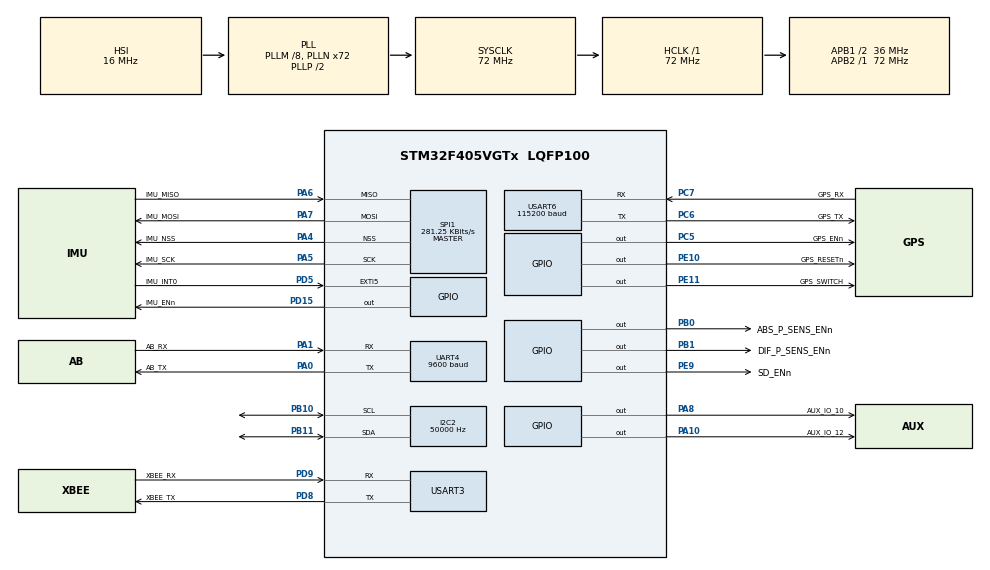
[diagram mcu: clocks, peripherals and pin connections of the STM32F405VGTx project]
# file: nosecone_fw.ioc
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Dma.I2C2_RX.2.Direction=DMA_PERIPH_TO_MEMORY
Dma.I2C2_RX.2.FIFOMode=DMA_FIFOMODE_DISABLE
Dma.I2C2_RX.2.Instance=DMA1_Stream2
Dma.I2C2_RX.2.MemDataAlignment=DMA_MDATAALIGN_BYTE
Dma.I2C2_RX.2.MemInc=DMA_MINC_ENABLE
Dma.I2C2_RX.2.Mode=DMA_NORMAL
Dma.I2C2_RX.2.PeriphDataAlignment=DMA_PDATAALIGN_BYTE
Dma.I2C2_RX.2.PeriphInc=DMA_PINC_DISABLE
Dma.I2C2_RX.2.Priority=DMA_PRIORITY_LOW
Dma.I2C2_TX.3.Direction=DMA_MEMORY_TO_PERIPH
Dma.I2C2_TX.3.FIFOMode=DMA_FIFOMODE_DISABLE
Dma.I2C2_TX.3.Instance=DMA1_Stream7
Dma.I2C2_TX.3.MemDataAlignment=DMA_MDATAALIGN_BYTE
Dma.I2C2_TX.3.MemInc=DMA_MINC_ENABLE
Dma.I2C2_TX.3.Mode=DMA_NORMAL
Dma.I2C2_TX.3.PeriphDataAlignment=DMA_PDATAALIGN_BYTE
Dma.I2C2_TX.3.PeriphInc=DMA_PINC_DISABLE
Dma.I2C2_TX.3.Priority=DMA_PRIORITY_LOW
Dma.Request0=USART3_RX
Dma.Request1=USART3_TX
Dma.Request2=I2C2_RX
Dma.Request3=I2C2_TX
Dma.Request4=UART4_TX
Dma.Request5=SPI1_RX
Dma.Request6=SPI1_TX
Dma.Request7=USART6_RX
Dma.SPI1_RX.5.Direction=DMA_PERIPH_TO_MEMORY
Dma.SPI1_RX.5.FIFOMode=DMA_FIFOMODE_DISABLE
Dma.SPI1_RX.5.Instance=DMA2_Stream0
Dma.SPI1_RX.5.MemDataAlignment=DMA_MDATAALIGN_BYTE
Dma.SPI1_RX.5.MemInc=DMA_MINC_ENABLE
Dma.SPI1_RX.5.Mode=DMA_NORMAL
Dma.SPI1_RX.5.PeriphDataAlignment=DMA_PDATAALIGN_BYTE
Dma.SPI1_RX.5.PeriphInc=DMA_PINC_DISABLE
Dma.SPI1_RX.5.Priority=DMA_PRIORITY_LOW
Dma.SPI1_TX.6.Direction=DMA_MEMORY_TO_PERIPH
Dma.SPI1_TX.6.FIFOMode=DMA_FIFOMODE_DISABLE
Dma.SPI1_TX.6.Instance=DMA2_Stream5
Dma.SPI1_TX.6.MemDataAlignment=DMA_MDATAALIGN_BYTE
Dma.SPI1_TX.6.MemInc=DMA_MINC_ENABLE
Dma.SPI1_TX.6.Mode=DMA_NORMAL
Dma.SPI1_TX.6.PeriphDataAlignment=DMA_PDATAALIGN_BYTE
Dma.SPI1_TX.6.PeriphInc=DMA_PINC_DISABLE
Dma.SPI1_TX.6.Priority=DMA_PRIORITY_LOW
Dma.UART4_TX.4.Direction=DMA_MEMORY_TO_PERIPH
Dma.UART4_TX.4.FIFOMode=DMA_FIFOMODE_DISABLE
Dma.UART4_TX.4.Instance=DMA1_Stream4
Dma.UART4_TX.4.MemDataAlignment=DMA_MDATAALIGN_BYTE
Dma.UART4_TX.4.MemInc=DMA_MINC_ENABLE
Dma.UART4_TX.4.Mode=DMA_NORMAL
Dma.UART4_TX.4.PeriphDataAlignment=DMA_PDATAALIGN_BYTE
Dma.UART4_TX.4.PeriphInc=DMA_PINC_DISABLE
Dma.UART4_TX.4.Priority=DMA_PRIORITY_LOW
Dma.USART3_RX.0.Direction=DMA_PERIPH_TO_MEMORY
Dma.USART3_RX.0.FIFOMode=DMA_FIFOMODE_DISABLE
Dma.USART3_RX.0.Instance=DMA1_Stream1
Dma.USART3_RX.0.MemDataAlignment=DMA_MDATAALIGN_BYTE
Dma.USART3_RX.0.MemInc=DMA_MINC_ENABLE
Dma.USART3_RX.0.Mode=DMA_CIRCULAR
Dma.USART3_RX.0.PeriphDataAlignment=DMA_PDATAALIGN_BYTE
Dma.USART3_RX.0.PeriphInc=DMA_PINC_DISABLE
Dma.USART3_RX.0.Priority=DMA_PRIORITY_LOW
Dma.USART3_TX.1.Direction=DMA_MEMORY_TO_PERIPH
Dma.USART3_TX.1.FIFOMode=DMA_FIFOMODE_DISABLE
Dma.USART3_TX.1.Instance=DMA1_Stream3
Dma.USART3_TX.1.MemDataAlignment=DMA_MDATAALIGN_BYTE
Dma.USART3_TX.1.MemInc=DMA_MINC_ENABLE
Dma.USART3_TX.1.Mode=DMA_NORMAL
Dma.USART3_TX.1.PeriphDataAlignment=DMA_PDATAALIGN_BYTE
Dma.USART3_TX.1.PeriphInc=DMA_PINC_DISABLE
Dma.USART3_TX.1.Priority=DMA_PRIORITY_LOW
Dma.USART6_RX.7.Direction=DMA_PERIPH_TO_MEMORY
Dma.USART6_RX.7.FIFOMode=DMA_FIFOMODE_DISABLE
Dma.USART6_RX.7.Instance=DMA2_Stream1
Dma.USART6_RX.7.MemDataAlignment=DMA_MDATAALIGN_BYTE
Dma.USART6_RX.7.MemInc=DMA_MINC_ENABLE
Dma.USART6_RX.7.Mode=DMA_CIRCULAR
Dma.USART6_RX.7.PeriphDataAlignment=DMA_PDATAALIGN_BYTE
Dma.USART6_RX.7.PeriphInc=DMA_PINC_DISABLE
Dma.USART6_RX.7.Priority=DMA_PRIORITY_LOW
FREERTOS.BinarySemaphores01=IMU_IntSem,Dynamic,NULL;xBeeTxBufferSem,Dynamic,NULL;pressureSensorI2cSem,Dynamic,NULL
FREERTOS.HEAP_NUMBER=4
FREERTOS.MEMORY_ALLOCATION=0
FREERTOS.Queues01=xBeeQueue,16,Telemetry_Message,0,Dynamic,NULL,NULL
FREERTOS.Tasks01=defaultTask,-2,128,StartDefaultTask,Default,NULL,Dynamic,NULL,NULL;IMU_iface,0,128,TK_IMU,As external,NULL,Dynamic,NULL,NULL;xBeeTelemetry,0,128,TK_xBeeTelemetry,As external,NULL,Dynamic,NULL,NULL;fetchFBarometer,1,128,TK_fetchBarometer,As external,NULL,Dynamic,NULL,NULL;centralizeData,0,300,TK_data,As external,NULL,Dynamic,NULL,NULL;xBee_RC,-2,128,TK_xBee_receive,As external,NULL,Dynamic,NULL,NULL;state_machine,-1,512,TK_state_machine,As external,NULL,Dynamic,NULL,NULL;stateEstimation,0,1000,TK_state_estimation,As external,NULL,Dynamic,NULL,NULL;poll_gps,0,300,TK_GPS,As external,NULL,Dynamic,NULL,NULL;airbrakes,-1,512,TK_ab_controller,As external,NULL,Dynamic,NULL,NULL
FREERTOS.configGENERATE_RUN_TIME_STATS=1
FREERTOS.configTOTAL_HEAP_SIZE=51200
FREERTOS.configUSE_TRACE_FACILITY=1
I2C2.ClockSpeed=50000
Mcu.Family=STM32F4
Mcu.Name=STM32F405VGTx
Mcu.Package=LQFP100
NVIC.DMA1_Stream1_IRQn=true\:5\:0\:false\:true\:true\:2\:true\:false
NVIC.DMA1_Stream2_IRQn=true\:5\:0\:false\:true\:true\:3\:false\:false
NVIC.DMA1_Stream3_IRQn=true\:5\:0\:false\:true\:true\:4\:true\:false
NVIC.DMA1_Stream4_IRQn=true\:5\:0\:false\:true\:true\:5\:true\:false
NVIC.DMA1_Stream7_IRQn=true\:5\:0\:false\:true\:true\:10\:true\:false
NVIC.DMA2_Stream0_IRQn=true\:5\:0\:false\:true\:true\:13\:true\:false
NVIC.DMA2_Stream1_IRQn=true\:5\:0\:false\:true\:true\:14\:true\:false
NVIC.DMA2_Stream5_IRQn=true\:5\:0\:false\:true\:true\:15\:true\:false
NVIC.EXTI9_5_IRQn=true\:12\:0\:true\:true\:true\:6\:true\:true
NVIC.I2C2_ER_IRQn=true\:5\:0\:false\:true\:true\:7\:true\:true
NVIC.I2C2_EV_IRQn=true\:5\:0\:false\:true\:true\:1\:true\:true
NVIC.PriorityGroup=NVIC_PRIORITYGROUP_4
NVIC.SPI1_IRQn=true\:5\:0\:false\:true\:true\:8\:true\:true
NVIC.TIM7_IRQn=true\:5\:0\:false\:true\:true\:12\:true\:true
NVIC.TIM8_TRG_COM_TIM14_IRQn=true\:0\:0\:false\:false\:true\:false\:false
NVIC.TimeBase=TIM8_TRG_COM_TIM14_IRQn
NVIC.TimeBaseIP=TIM14
NVIC.UART4_IRQn=true\:5\:0\:false\:true\:true\:11\:true\:true
NVIC.USART3_IRQn=true\:5\:0\:false\:true\:true\:9\:true\:true
PA0-WKUP.GPIO_Label=AB_TX
PA0-WKUP.Mode=Asynchronous
PA0-WKUP.Signal=UART4_TX
PA1.GPIO_Label=AB_RX
PA1.Mode=Asynchronous
PA1.Signal=UART4_RX
PA10.GPIO_Label=AUX_IO_12
PA10.Signal=GPIO_Output
PA4.GPIO_Label=IMU_NSS
PA4.GPIO_PuPd=GPIO_NOPULL
PA4.Mode=NSS_Signal_Hard_Output
PA4.Signal=SPI1_NSS
PA5.GPIO_Label=IMU_SCK
PA5.GPIO_PuPd=GPIO_NOPULL
PA5.Mode=Full_Duplex_Master
PA5.Signal=SPI1_SCK
PA6.GPIO_Label=IMU_MISO
PA6.Mode=Full_Duplex_Master
PA6.Signal=SPI1_MISO
PA7.GPIO_Label=IMU_MOSI
PA7.Mode=Full_Duplex_Master
PA7.Signal=SPI1_MOSI
PA8.GPIO_Label=AUX_IO_10
PA8.Signal=GPIO_Output
PB0.GPIO_Label=ABS_P_SENS_ENn
PB0.PinState=GPIO_PIN_SET
PB0.Signal=GPIO_Output
PB1.GPIO_Label=DIF_P_SENS_ENn
PB1.PinState=GPIO_PIN_SET
PB1.Signal=GPIO_Output
PB10.Mode=I2C
PB10.Signal=I2C2_SCL
PB11.Mode=I2C
PB11.Signal=I2C2_SDA
PC5.GPIO_Label=GPS_ENn
PC5.PinState=GPIO_PIN_SET
PC5.Signal=GPIO_Output
PC6.GPIO_Label=GPS_TX
PC6.Mode=Asynchronous
PC6.Signal=USART6_TX
PC7.GPIO_Label=GPS_RX
PC7.Mode=Asynchronous
PC7.Signal=USART6_RX
PD15.GPIO_Label=IMU_ENn
PD15.PinState=GPIO_PIN_SET
PD15.Signal=GPIO_Output
PD5.GPIO_Label=IMU_INT0
PD5.GPIO_ModeDefaultEXTI=GPIO_MODE_IT_FALLING
PD5.Signal=GPXTI5
PD8.GPIO_Label=XBEE_TX
PD8.Mode=Asynchronous
PD8.Signal=USART3_TX
PD9.GPIO_Label=XBEE_RX
PD9.Mode=Asynchronous
PD9.Signal=USART3_RX
PE10.GPIO_Label=GPS_RESETn
PE10.PinState=GPIO_PIN_SET
PE10.Signal=GPIO_Output
PE11.GPIO_Label=GPS_SWITCH
PE11.PinState=GPIO_PIN_SET
PE11.Signal=GPIO_Output
PE9.GPIO_Label=SD_ENn
PE9.PinState=GPIO_PIN_RESET
PE9.Signal=GPIO_Output
ProjectManager.HeapSize=0x200
ProjectManager.StackSize=0x400
ProjectManager.TargetToolchain=TrueSTUDIO
RCC.48MHZClocksFreq_Value=18000000
RCC.AHBFreq_Value=72000000
RCC.APB1CLKDivider=RCC_HCLK_DIV2
RCC.APB1Freq_Value=36000000
RCC.APB1TimFreq_Value=72000000
RCC.APB2Freq_Value=72000000
RCC.APB2TimFreq_Value=72000000
RCC.CortexFreq_Value=72000000
RCC.HCLKFreq_Value=72000000
RCC.HSE_VALUE=25000000
RCC.HSI_VALUE=16000000
RCC.LSE_VALUE=32768
RCC.PLLM=8
RCC.PLLN=72
RCC.PLLQ=8
RCC.SYSCLKFreq_VALUE=72000000
RCC.SYSCLKSource=RCC_SYSCLKSOURCE_PLLCLK
RCC.VCOOutputFreq_Value=144000000
SPI1.BaudRatePrescaler=SPI_BAUDRATEPRESCALER_256
SPI1.CalculateBaudRate=281.25 KBits/s
SPI1.Direction=SPI_DIRECTION_2LINES
SPI1.Mode=SPI_MODE_MASTER
SPI1.TIMode=SPI_TIMODE_DISABLE
SPI1.VirtualNSS=VM_NSSHARD
SPI1.VirtualType=VM_MASTER
TIM7.Period=50
TIM7.Prescaler=168
UART4.BaudRate=9600
UART4.VirtualMode=Asynchronous
USART3.VirtualMode=VM_ASYNC
USART6.BaudRate=115200
USART6.VirtualMode=VM_ASYNC
VP_FREERTOS_VS_ENABLE.Mode=Enabled
VP_SYS_VS_tim14.Mode=TIM14
VP_TIM7_VS_ClockSourceINT.Mode=Enable_Timer
board=nosecone_fw

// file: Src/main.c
/**
  ******************************************************************************
  * @file           : main.c
  * @brief          : Main program body
  ******************************************************************************
  * This notice applies to any and all portions of this file
  * that are not between comment pairs USER CODE BEGIN and
  * USER CODE END. Other portions of this file, whether
  * inserted by the user or by software development tools
  * are owned by their respective copyright owners.
  *
  * Copyright (c) 2018 STMicroelectronics International N.V.
  * All rights reserved.
  *
  * Redistribution and use in source and binary forms, with or without
  * modification, are permitted, provided that the following conditions are met:
  *
  * 1. Redistribution of source code must retain the above copyright notice,
  *    this list of conditions and the following disclaimer.
  * 2. Redistributions in binary form must reproduce the above copyright notice,
  *    this list of conditions and the following disclaimer in the documentation
  *    and/or other materials provided with the distribution.
  * 3. Neither the name of STMicroelectronics nor the names of other
  *    contributors to this software may be used to endorse or promote products
  *    derived from this software without specific written permission.
  * 4. This software, including modifications and/or derivative works of this
  *    software, must execute solely and exclusively on microcontroller or
  *    microprocessor devices manufactured by or for STMicroelectronics.
  * 5. Redistribution and use of this software other than as permitted under
  *    this license is void and will automatically terminate your rights under
  *    this license.
  *
  * THIS SOFTWARE IS PROVIDED BY STMICROELECTRONICS AND CONTRIBUTORS "AS IS"
  * AND ANY EXPRESS, IMPLIED OR STATUTORY WARRANTIES, INCLUDING, BUT NOT
  * LIMITED TO, THE IMPLIED WARRANTIES OF MERCHANTABILITY, FITNESS FOR A
  * PARTICULAR PURPOSE AND NON-INFRINGEMENT OF THIRD PARTY INTELLECTUAL PROPERTY
  * RIGHTS ARE DISCLAIMED TO THE FULLEST EXTENT PERMITTED BY LAW. IN NO EVENT
  * SHALL STMICROELECTRONICS OR CONTRIBUTORS BE LIABLE FOR ANY DIRECT, INDIRECT,
  * INCIDENTAL, SPECIAL, EXEMPLARY, OR CONSEQUENTIAL DAMAGES (INCLUDING, BUT NOT
  * LIMITED TO, PROCUREMENT OF SUBSTITUTE GOODS OR SERVICES; LOSS OF USE, DATA,
  * OR PROFITS; OR BUSINESS INTERRUPTION) HOWEVER CAUSED AND ON ANY THEORY OF
  * LIABILITY, WHETHER IN CONTRACT, STRICT LIABILITY, OR TORT (INCLUDING
  * NEGLIGENCE OR OTHERWISE) ARISING IN ANY WAY OUT OF THE USE OF THIS SOFTWARE,
  * EVEN IF ADVISED OF THE POSSIBILITY OF SUCH DAMAGE.
  *
  ******************************************************************************
  */
#include "main.h"
#include "stm32f4xx_hal.h"
#include "cmsis_os.h"

/* USER CODE BEGIN Includes */

#include "Misc/Common.h"

#include <Sensors/imu.h>
#include <Sensors/gps.h>
#include <Sensors/pressure_sensors.h>
#include <Telemetry/xbee.h>

/* USER CODE END Includes */

I2C_HandleTypeDef hi2c2;
DMA_HandleTypeDef hdma_i2c2_rx;
DMA_HandleTypeDef hdma_i2c2_tx;

SPI_HandleTypeDef hspi1;
DMA_HandleTypeDef hdma_spi1_rx;
DMA_HandleTypeDef hdma_spi1_tx;

TIM_HandleTypeDef htim7;

UART_HandleTypeDef huart4;
UART_HandleTypeDef huart3;
UART_HandleTypeDef huart6;
DMA_HandleTypeDef hdma_uart4_tx;
DMA_HandleTypeDef hdma_usart3_rx;
DMA_HandleTypeDef hdma_usart3_tx;
DMA_HandleTypeDef hdma_usart6_rx;

osThreadId defaultTaskHandle;
osThreadId IMU_ifaceHandle;
osThreadId xBeeTelemetryHandle;
osThreadId fetchFBarometerHandle;
osThreadId centralizeDataHandle;
osThreadId xBee_RCHandle;
osThreadId state_machineHandle;
osThreadId stateEstimationHandle;
osThreadId poll_gpsHandle;
osThreadId airbrakesHandle;
osMessageQId xBeeQueueHandle;
osSemaphoreId IMU_IntSemHandle;
osSemaphoreId xBeeTxBufferSemHandle;
osSemaphoreId pressureSensorI2cSemHandle;

/* USER CODE BEGIN PV */
/* Private variables ---------------------------------------------------------*/

IMU_data IMU_buffer[CIRC_BUFFER_SIZE] CCMRAM;
BARO_data BARO_buffer[CIRC_BUFFER_SIZE] CCMRAM;
BARO_data PITOT_buffer[CIRC_BUFFER_SIZE] CCMRAM;

int startSimulation;

UART_HandleTypeDef* xBee_huart;
UART_HandleTypeDef* airbrake_huart;
UART_HandleTypeDef* gps_huart;

/* USER CODE END PV */

void SystemClock_Config(void);
static void MX_GPIO_Init(void);
static void MX_DMA_Init(void);
static void MX_SPI1_Init(void);
static void MX_TIM7_Init(void);
static void MX_USART3_UART_Init(void);
static void MX_I2C2_Init(void);
static void MX_UART4_Init(void);
static void MX_USART6_UART_Init(void);
void StartDefaultTask(void const * argument);
extern void TK_IMU(void const * argument);
extern void TK_xBeeTelemetry(void const * argument);
extern void TK_fetchBarometer(void const * argument);
extern void TK_data(void const * argument);
extern void TK_xBee_receive(void const * argument);
extern void TK_state_machine(void const * argument);
extern void TK_state_estimation(void const * argument);
extern void TK_GPS(void const * argument);
extern void TK_ab_controller(void const * argument);
static void MX_NVIC_Init(void);

/* USER CODE BEGIN PFP */
/* Private function prototypes -----------------------------------------------*/

void initPeripherals ();

/* USER CODE END PFP */

int main(void)
{
  /* USER CODE BEGIN 1 */
  uint32_t delay = 2000000; // small delay at boot up
  while (delay--)
    asm("nop");
  /* USER CODE END 1 */

  /* MCU Configuration----------------------------------------------------------*/

  /* Reset of all peripherals, Initializes the Flash interface and the Systick. */
  HAL_Init();

  /* Configure the system clock */
  SystemClock_Config();

  /* Initialize all configured peripherals */
  MX_GPIO_Init();
  MX_DMA_Init();
  MX_SPI1_Init();
  MX_TIM7_Init();
  MX_USART3_UART_Init();
  MX_I2C2_Init();
  MX_UART4_Init();
  MX_USART6_UART_Init();

  /* Initialize interrupts */
  MX_NVIC_Init();
  /* USER CODE BEGIN 2 */
  HAL_TIM_Base_Start_IT (&htim7);

  initPeripherals ();

  /* USER CODE END 2 */

  /* Create the semaphores(s) */
  /* definition and creation of IMU_IntSem */
  osSemaphoreDef(IMU_IntSem);
  IMU_IntSemHandle = osSemaphoreCreate(osSemaphore(IMU_IntSem), 1);

  /* definition and creation of xBeeTxBufferSem */
  osSemaphoreDef(xBeeTxBufferSem);
  xBeeTxBufferSemHandle = osSemaphoreCreate(osSemaphore(xBeeTxBufferSem), 1);

  /* definition and creation of pressureSensorI2cSem */
  osSemaphoreDef(pressureSensorI2cSem);
  pressureSensorI2cSemHandle = osSemaphoreCreate(osSemaphore(pressureSensorI2cSem), 1);

  /* Create the thread(s) */
  /* definition and creation of defaultTask */
  osThreadDef(defaultTask, StartDefaultTask, osPriorityLow, 0, 128);
  defaultTaskHandle = osThreadCreate(osThread(defaultTask), NULL);

  /* definition and creation of IMU_iface */
  osThreadDef(IMU_iface, TK_IMU, osPriorityNormal, 0, 128);
  IMU_ifaceHandle = osThreadCreate(osThread(IMU_iface), NULL);

  /* definition and creation of xBeeTelemetry */
  osThreadDef(xBeeTelemetry, TK_xBeeTelemetry, osPriorityNormal, 0, 128);
  xBeeTelemetryHandle = osThreadCreate(osThread(xBeeTelemetry), NULL);

  /* definition and creation of fetchFBarometer */
  osThreadDef(fetchFBarometer, TK_fetchBarometer, osPriorityAboveNormal, 0, 128);
  fetchFBarometerHandle = osThreadCreate(osThread(fetchFBarometer), NULL);

  /* definition and creation of centralizeData */
  osThreadDef(centralizeData, TK_data, osPriorityNormal, 0, 300);
  centralizeDataHandle = osThreadCreate(osThread(centralizeData), NULL);

  /* definition and creation of xBee_RC */
  osThreadDef(xBee_RC, TK_xBee_receive, osPriorityLow, 0, 128);
  xBee_RCHandle = osThreadCreate(osThread(xBee_RC), NULL);

  /* definition and creation of state_machine */
  osThreadDef(state_machine, TK_state_machine, osPriorityBelowNormal, 0, 512);
  state_machineHandle = osThreadCreate(osThread(state_machine), NULL);

  /* definition and creation of stateEstimation */
  osThreadDef(stateEstimation, TK_state_estimation, osPriorityHigh, 0, 1000);
  stateEstimationHandle = osThreadCreate(osThread(stateEstimation), NULL);

  /* definition and creation of poll_gps */
  osThreadDef(poll_gps, TK_GPS, osPriorityNormal, 0, 300);
  poll_gpsHandle = osThreadCreate(osThread(poll_gps), NULL);

  /* definition and creation of airbrakes */
  osThreadDef(airbrakes, TK_ab_controller, osPriorityBelowNormal, 0, 512);
  airbrakesHandle = osThreadCreate(osThread(airbrakes), NULL);

  /* Create the queue(s) */
  /* definition and creation of xBeeQueue */
  osMessageQDef(xBeeQueue, 16, Telemetry_Message);
  xBeeQueueHandle = osMessageCreate(osMessageQ(xBeeQueue), NULL);

  /* USER CODE BEGIN RTOS_QUEUES */

  /* add queues, ... */

  vQueueAddToRegistry (xBeeQueueHandle, "xBee incoming queue");
  /* USER CODE END RTOS_QUEUES */

  /* Start scheduler */
  osKernelStart();

  /* We should never get here as control is now taken by the scheduler */

  /* Infinite loop */
  while (1)
    {

    }

}

void SystemClock_Config(void)
{

  RCC_OscInitTypeDef RCC_OscInitStruct;
  RCC_ClkInitTypeDef RCC_ClkInitStruct;

    /**Configure the main internal regulator output voltage
    */
  __HAL_RCC_PWR_CLK_ENABLE();

  __HAL_PWR_VOLTAGESCALING_CONFIG(PWR_REGULATOR_VOLTAGE_SCALE1);

    /**Initializes the CPU, AHB and APB busses clocks
    */
  RCC_OscInitStruct.OscillatorType = RCC_OSCILLATORTYPE_HSI;
  RCC_OscInitStruct.HSIState = RCC_HSI_ON;
  RCC_OscInitStruct.HSICalibrationValue = 16;
  RCC_OscInitStruct.PLL.PLLState = RCC_PLL_ON;
  RCC_OscInitStruct.PLL.PLLSource = RCC_PLLSOURCE_HSI;
  RCC_OscInitStruct.PLL.PLLM = 8;
  RCC_OscInitStruct.PLL.PLLN = 72;
  RCC_OscInitStruct.PLL.PLLP = RCC_PLLP_DIV2;
  RCC_OscInitStruct.PLL.PLLQ = 8;
  if (HAL_RCC_OscConfig(&RCC_OscInitStruct) != HAL_OK)
  {
    _Error_Handler(__FILE__, __LINE__);
  }

    /**Initializes the CPU, AHB and APB busses clocks
    */
  RCC_ClkInitStruct.ClockType = RCC_CLOCKTYPE_HCLK|RCC_CLOCKTYPE_SYSCLK
                              |RCC_CLOCKTYPE_PCLK1|RCC_CLOCKTYPE_PCLK2;
  RCC_ClkInitStruct.SYSCLKSource = RCC_SYSCLKSOURCE_PLLCLK;
  RCC_ClkInitStruct.AHBCLKDivider = RCC_SYSCLK_DIV1;
  RCC_ClkInitStruct.APB1CLKDivider = RCC_HCLK_DIV2;
  RCC_ClkInitStruct.APB2CLKDivider = RCC_HCLK_DIV1;

  if (HAL_RCC_ClockConfig(&RCC_ClkInitStruct, FLASH_LATENCY_2) != HAL_OK)
  {
    _Error_Handler(__FILE__, __LINE__);
  }

    /**Configure the Systick interrupt time
    */
  HAL_SYSTICK_Config(HAL_RCC_GetHCLKFreq()/1000);

    /**Configure the Systick
    */
  HAL_SYSTICK_CLKSourceConfig(SYSTICK_CLKSOURCE_HCLK);

  /* SysTick_IRQn interrupt configuration */
  HAL_NVIC_SetPriority(SysTick_IRQn, 15, 0);
}

/**
  * @brief NVIC Configuration.
  * @retval None
  */
static void MX_NVIC_Init(void)
{
  /* I2C2_EV_IRQn interrupt configuration */
  HAL_NVIC_SetPriority(I2C2_EV_IRQn, 5, 0);
  HAL_NVIC_EnableIRQ(I2C2_EV_IRQn);
  /* DMA1_Stream1_IRQn interrupt configuration */
  HAL_NVIC_SetPriority(DMA1_Stream1_IRQn, 5, 0);
  HAL_NVIC_EnableIRQ(DMA1_Stream1_IRQn);
  /* DMA1_Stream2_IRQn interrupt configuration */
  HAL_NVIC_SetPriority(DMA1_Stream2_IRQn, 5, 0);
  HAL_NVIC_EnableIRQ(DMA1_Stream2_IRQn);
  /* DMA1_Stream3_IRQn interrupt configuration */
  HAL_NVIC_SetPriority(DMA1_Stream3_IRQn, 5, 0);
  HAL_NVIC_EnableIRQ(DMA1_Stream3_IRQn);
  /* DMA1_Stream4_IRQn interrupt configuration */
  HAL_NVIC_SetPriority(DMA1_Stream4_IRQn, 5, 0);
  HAL_NVIC_EnableIRQ(DMA1_Stream4_IRQn);
  /* EXTI9_5_IRQn interrupt configuration */
  HAL_NVIC_SetPriority(EXTI9_5_IRQn, 12, 0);
  HAL_NVIC_EnableIRQ(EXTI9_5_IRQn);
  /* I2C2_ER_IRQn interrupt configuration */
  HAL_NVIC_SetPriority(I2C2_ER_IRQn, 5, 0);
  HAL_NVIC_EnableIRQ(I2C2_ER_IRQn);
  /* SPI1_IRQn interrupt configuration */
  HAL_NVIC_SetPriority(SPI1_IRQn, 5, 0);
  HAL_NVIC_EnableIRQ(SPI1_IRQn);
  /* USART3_IRQn interrupt configuration */
  HAL_NVIC_SetPriority(USART3_IRQn, 5, 0);
  HAL_NVIC_EnableIRQ(USART3_IRQn);
  /* DMA1_Stream7_IRQn interrupt configuration */
  HAL_NVIC_SetPriority(DMA1_Stream7_IRQn, 5, 0);
  HAL_NVIC_EnableIRQ(DMA1_Stream7_IRQn);
  /* UART4_IRQn interrupt configuration */
  HAL_NVIC_SetPriority(UART4_IRQn, 5, 0);
  HAL_NVIC_EnableIRQ(UART4_IRQn);
  /* TIM7_IRQn interrupt configuration */
  HAL_NVIC_SetPriority(TIM7_IRQn, 5, 0);
  HAL_NVIC_EnableIRQ(TIM7_IRQn);
  /* DMA2_Stream0_IRQn interrupt configuration */
  HAL_NVIC_SetPriority(DMA2_Stream0_IRQn, 5, 0);
  HAL_NVIC_EnableIRQ(DMA2_Stream0_IRQn);
  /* DMA2_Stream1_IRQn interrupt configuration */
  HAL_NVIC_SetPriority(DMA2_Stream1_IRQn, 5, 0);
  HAL_NVIC_EnableIRQ(DMA2_Stream1_IRQn);
  /* DMA2_Stream5_IRQn interrupt configuration */
  HAL_NVIC_SetPriority(DMA2_Stream5_IRQn, 5, 0);
  HAL_NVIC_EnableIRQ(DMA2_Stream5_IRQn);
}

/* I2C2 init function */
static void MX_I2C2_Init(void)
{

  hi2c2.Instance = I2C2;
  hi2c2.Init.ClockSpeed = 50000;
  hi2c2.Init.DutyCycle = I2C_DUTYCYCLE_2;
  hi2c2.Init.OwnAddress1 = 0;
  hi2c2.Init.AddressingMode = I2C_ADDRESSINGMODE_7BIT;
  hi2c2.Init.DualAddressMode = I2C_DUALADDRESS_DISABLE;
  hi2c2.Init.OwnAddress2 = 0;
  hi2c2.Init.GeneralCallMode = I2C_GENERALCALL_DISABLE;
  hi2c2.Init.NoStretchMode = I2C_NOSTRETCH_DISABLE;
  if (HAL_I2C_Init(&hi2c2) != HAL_OK)
  {
    _Error_Handler(__FILE__, __LINE__);
  }

}

/* SPI1 init function */
static void MX_SPI1_Init(void)
{

  /* SPI1 parameter configuration*/
  hspi1.Instance = SPI1;
  hspi1.Init.Mode = SPI_MODE_MASTER;
  hspi1.Init.Direction = SPI_DIRECTION_2LINES;
  hspi1.Init.DataSize = SPI_DATASIZE_8BIT;
  hspi1.Init.CLKPolarity = SPI_POLARITY_LOW;
  hspi1.Init.CLKPhase = SPI_PHASE_1EDGE;
  hspi1.Init.NSS = SPI_NSS_HARD_OUTPUT;
  hspi1.Init.BaudRatePrescaler = SPI_BAUDRATEPRESCALER_256;
  hspi1.Init.FirstBit = SPI_FIRSTBIT_MSB;
  hspi1.Init.TIMode = SPI_TIMODE_DISABLE;
  hspi1.Init.CRCCalculation = SPI_CRCCALCULATION_DISABLE;
  hspi1.Init.CRCPolynomial = 10;
  if (HAL_SPI_Init(&hspi1) != HAL_OK)
  {
    _Error_Handler(__FILE__, __LINE__);
  }

}

/* TIM7 init function */
static void MX_TIM7_Init(void)
{

  TIM_MasterConfigTypeDef sMasterConfig;

  htim7.Instance = TIM7;
  htim7.Init.Prescaler = 168;
  htim7.Init.CounterMode = TIM_COUNTERMODE_UP;
  htim7.Init.Period = 50;
  if (HAL_TIM_Base_Init(&htim7) != HAL_OK)
  {
    _Error_Handler(__FILE__, __LINE__);
  }

  sMasterConfig.MasterOutputTrigger = TIM_TRGO_RESET;
  sMasterConfig.MasterSlaveMode = TIM_MASTERSLAVEMODE_DISABLE;
  if (HAL_TIMEx_MasterConfigSynchronization(&htim7, &sMasterConfig) != HAL_OK)
  {
    _Error_Handler(__FILE__, __LINE__);
  }

}

/* UART4 init function */
static void MX_UART4_Init(void)
{

  huart4.Instance = UART4;
  huart4.Init.BaudRate = 9600;
  huart4.Init.WordLength = UART_WORDLENGTH_8B;
  huart4.Init.StopBits = UART_STOPBITS_1;
  huart4.Init.Parity = UART_PARITY_NONE;
  huart4.Init.Mode = UART_MODE_TX_RX;
  huart4.Init.HwFlowCtl = UART_HWCONTROL_NONE;
  huart4.Init.OverSampling = UART_OVERSAMPLING_16;
  if (HAL_UART_Init(&huart4) != HAL_OK)
  {
    _Error_Handler(__FILE__, __LINE__);
  }

}

/* USART3 init function */
static void MX_USART3_UART_Init(void)
{

  huart3.Instance = USART3;
  huart3.Init.BaudRate = 115200;
  huart3.Init.WordLength = UART_WORDLENGTH_8B;
  huart3.Init.StopBits = UART_STOPBITS_1;
  huart3.Init.Parity = UART_PARITY_NONE;
  huart3.Init.Mode = UART_MODE_TX_RX;
  huart3.Init.HwFlowCtl = UART_HWCONTROL_NONE;
  huart3.Init.OverSampling = UART_OVERSAMPLING_16;
  if (HAL_UART_Init(&huart3) != HAL_OK)
  {
    _Error_Handler(__FILE__, __LINE__);
  }

}

/* USART6 init function */
static void MX_USART6_UART_Init(void)
{

  huart6.Instance = USART6;
  huart6.Init.BaudRate = 115200;
  huart6.Init.WordLength = UART_WORDLENGTH_8B;
  huart6.Init.StopBits = UART_STOPBITS_1;
  huart6.Init.Parity = UART_PARITY_NONE;
  huart6.Init.Mode = UART_MODE_TX_RX;
  huart6.Init.HwFlowCtl = UART_HWCONTROL_NONE;
  huart6.Init.OverSampling = UART_OVERSAMPLING_16;
  if (HAL_UART_Init(&huart6) != HAL_OK)
  {
    _Error_Handler(__FILE__, __LINE__);
  }

}

static void MX_DMA_Init(void)
{
  /* DMA controller clock enable */
  __HAL_RCC_DMA1_CLK_ENABLE();
  __HAL_RCC_DMA2_CLK_ENABLE();

}

/** Configure pins as
        * Analog
        * Input
        * Output
        * EVENT_OUT
        * EXTI
*/
static void MX_GPIO_Init(void)
{

  GPIO_InitTypeDef GPIO_InitStruct;

  /* GPIO Ports Clock Enable */
  __HAL_RCC_GPIOA_CLK_ENABLE();
  __HAL_RCC_GPIOC_CLK_ENABLE();
  __HAL_RCC_GPIOB_CLK_ENABLE();
  __HAL_RCC_GPIOE_CLK_ENABLE();
  __HAL_RCC_GPIOD_CLK_ENABLE();

  /*Configure GPIO pin Output Level */
  HAL_GPIO_WritePin(GPS_ENn_GPIO_Port, GPS_ENn_Pin, GPIO_PIN_SET);

  /*Configure GPIO pin Output Level */
  HAL_GPIO_WritePin(GPIOB, ABS_P_SENS_ENn_Pin|DIF_P_SENS_ENn_Pin, GPIO_PIN_SET);

  /*Configure GPIO pin Output Level */
  HAL_GPIO_WritePin(SD_ENn_GPIO_Port, SD_ENn_Pin, GPIO_PIN_RESET);

  /*Configure GPIO pin Output Level */
  HAL_GPIO_WritePin(GPIOE, GPS_RESETn_Pin|GPS_SWITCH_Pin, GPIO_PIN_SET);

  /*Configure GPIO pin Output Level */
  HAL_GPIO_WritePin(IMU_ENn_GPIO_Port, IMU_ENn_Pin, GPIO_PIN_SET);

  /*Configure GPIO pin Output Level */
  HAL_GPIO_WritePin(GPIOA, AUX_IO_10_Pin|AUX_IO_12_Pin, GPIO_PIN_RESET);

  /*Configure GPIO pin : GPS_ENn_Pin */
  GPIO_InitStruct.Pin = GPS_ENn_Pin;
  GPIO_InitStruct.Mode = GPIO_MODE_OUTPUT_PP;
  GPIO_InitStruct.Pull = GPIO_NOPULL;
  GPIO_InitStruct.Speed = GPIO_SPEED_FREQ_LOW;
  HAL_GPIO_Init(GPS_ENn_GPIO_Port, &GPIO_InitStruct);

  /*Configure GPIO pins : ABS_P_SENS_ENn_Pin DIF_P_SENS_ENn_Pin */
  GPIO_InitStruct.Pin = ABS_P_SENS_ENn_Pin|DIF_P_SENS_ENn_Pin;
  GPIO_InitStruct.Mode = GPIO_MODE_OUTPUT_PP;
  GPIO_InitStruct.Pull = GPIO_NOPULL;
  GPIO_InitStruct.Speed = GPIO_SPEED_FREQ_LOW;
  HAL_GPIO_Init(GPIOB, &GPIO_InitStruct);

  /*Configure GPIO pins : SD_ENn_Pin GPS_RESETn_Pin GPS_SWITCH_Pin */
  GPIO_InitStruct.Pin = SD_ENn_Pin|GPS_RESETn_Pin|GPS_SWITCH_Pin;
  GPIO_InitStruct.Mode = GPIO_MODE_OUTPUT_PP;
  GPIO_InitStruct.Pull = GPIO_NOPULL;
  GPIO_InitStruct.Speed = GPIO_SPEED_FREQ_LOW;
  HAL_GPIO_Init(GPIOE, &GPIO_InitStruct);

  /*Configure GPIO pin : IMU_ENn_Pin */
  GPIO_InitStruct.Pin = IMU_ENn_Pin;
  GPIO_InitStruct.Mode = GPIO_MODE_OUTPUT_PP;
  GPIO_InitStruct.Pull = GPIO_NOPULL;
  GPIO_InitStruct.Speed = GPIO_SPEED_FREQ_LOW;
  HAL_GPIO_Init(IMU_ENn_GPIO_Port, &GPIO_InitStruct);

  /*Configure GPIO pins : AUX_IO_10_Pin AUX_IO_12_Pin */
  GPIO_InitStruct.Pin = AUX_IO_10_Pin|AUX_IO_12_Pin;
  GPIO_InitStruct.Mode = GPIO_MODE_OUTPUT_PP;
  GPIO_InitStruct.Pull = GPIO_NOPULL;
  GPIO_InitStruct.Speed = GPIO_SPEED_FREQ_LOW;
  HAL_GPIO_Init(GPIOA, &GPIO_InitStruct);

  /*Configure GPIO pin : IMU_INT0_Pin */
  GPIO_InitStruct.Pin = IMU_INT0_Pin;
  GPIO_InitStruct.Mode = GPIO_MODE_IT_FALLING;
  GPIO_InitStruct.Pull = GPIO_NOPULL;
  HAL_GPIO_Init(IMU_INT0_GPIO_Port, &GPIO_InitStruct);

}

/* USER CODE BEGIN 4 */

void initPeripherals ()
{
  initBarometer ();

  HAL_GPIO_WritePin (GPS_ENn_GPIO_Port, GPS_ENn_Pin, GPIO_PIN_RESET);

  HAL_GPIO_WritePin (GPS_RESETn_GPIO_Port, GPS_RESETn_Pin, GPIO_PIN_RESET);
  HAL_Delay (50);
  HAL_GPIO_WritePin (GPS_RESETn_GPIO_Port, GPS_RESETn_Pin, GPIO_PIN_SET);

  xBee_huart = &huart3;
  HAL_UART_Init (xBee_huart);

  airbrake_huart = &huart4;
  HAL_UART_Init (airbrake_huart);

  gps_huart = &huart6;
  HAL_UART_Init (gps_huart);
}

/*
 * RxCplt Callback
 */
void HAL_UART_RxCpltCallback (UART_HandleTypeDef *huart)
{
  if (huart == gps_huart)
    {
      GPS_RxCpltCallback ();
    }
  else if (huart == xBee_huart)
    {
      xBee_rxCpltCallback ();
    }
  else if (huart == airbrake_huart)
    {
      airbrake_rxCpltCallback();
    }
}

/*
 * IMU interrupt handler
 */
void HAL_GPIO_EXTI_Callback (uint16_t GPIO_Pin)
{
  getIMUdataDMA ();
}

/* USER CODE END 4 */

/* StartDefaultTask function */
void StartDefaultTask(void const * argument)
{

  /* USER CODE BEGIN 5 */

  /* Infinite loop */
  for (;;)
    {
      osDelay (10);
    }
  /* USER CODE END 5 */
}

void HAL_TIM_PeriodElapsedCallback(TIM_HandleTypeDef *htim)
{
  if (htim->Instance == TIM14) {
    HAL_IncTick();
  }
}

void _Error_Handler(char *file, int line)
{
  while (1)
    {
    }
}

/************************ (C) COPYRIGHT STMicroelectronics *****END OF FILE****/

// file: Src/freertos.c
/**
  ******************************************************************************
  * File Name          : freertos.c
  * Description        : Code for freertos applications
  ******************************************************************************
  * This notice applies to any and all portions of this file
  * that are not between comment pairs USER CODE BEGIN and
  * USER CODE END. Other portions of this file, whether
  * inserted by the user or by software development tools
  * are owned by their respective copyright owners.
  *
  * Copyright (c) 2018 STMicroelectronics International N.V.
  * All rights reserved.
  *
  * Redistribution and use in source and binary forms, with or without
  * modification, are permitted, provided that the following conditions are met:
  *
  * 1. Redistribution of source code must retain the above copyright notice,
  *    this list of conditions and the following disclaimer.
  * 2. Redistributions in binary form must reproduce the above copyright notice,
  *    this list of conditions and the following disclaimer in the documentation
  *    and/or other materials provided with the distribution.
  * 3. Neither the name of STMicroelectronics nor the names of other
  *    contributors to this software may be used to endorse or promote products
  *    derived from this software without specific written permission.
  * 4. This software, including modifications and/or derivative works of this
  *    software, must execute solely and exclusively on microcontroller or
  *    microprocessor devices manufactured by or for STMicroelectronics.
  * 5. Redistribution and use of this software other than as permitted under
  *    this license is void and will automatically terminate your rights under
  *    this license.
  *
  * THIS SOFTWARE IS PROVIDED BY STMICROELECTRONICS AND CONTRIBUTORS "AS IS"
  * AND ANY EXPRESS, IMPLIED OR STATUTORY WARRANTIES, INCLUDING, BUT NOT
  * LIMITED TO, THE IMPLIED WARRANTIES OF MERCHANTABILITY, FITNESS FOR A
  * PARTICULAR PURPOSE AND NON-INFRINGEMENT OF THIRD PARTY INTELLECTUAL PROPERTY
  * RIGHTS ARE DISCLAIMED TO THE FULLEST EXTENT PERMITTED BY LAW. IN NO EVENT
  * SHALL STMICROELECTRONICS OR CONTRIBUTORS BE LIABLE FOR ANY DIRECT, INDIRECT,
  * INCIDENTAL, SPECIAL, EXEMPLARY, OR CONSEQUENTIAL DAMAGES (INCLUDING, BUT NOT
  * LIMITED TO, PROCUREMENT OF SUBSTITUTE GOODS OR SERVICES; LOSS OF USE, DATA,
  * OR PROFITS; OR BUSINESS INTERRUPTION) HOWEVER CAUSED AND ON ANY THEORY OF
  * LIABILITY, WHETHER IN CONTRACT, STRICT LIABILITY, OR TORT (INCLUDING
  * NEGLIGENCE OR OTHERWISE) ARISING IN ANY WAY OUT OF THE USE OF THIS SOFTWARE,
  * EVEN IF ADVISED OF THE POSSIBILITY OF SUCH DAMAGE.
  *
  ******************************************************************************
  */

#include "FreeRTOS.h"
#include "task.h"

/* USER CODE BEGIN Variables */
volatile unsigned long ulHighFrequencyTimerTicks = 0;
uint8_t ucHeap[configTOTAL_HEAP_SIZE];

/* USER CODE END Variables */

/* Hook prototypes */
void configureTimerForRunTimeStats(void);
unsigned long getRunTimeCounterValue(void);

/* USER CODE BEGIN 1 */
/* Functions needed when configGENERATE_RUN_TIME_STATS is on */
__weak void configureTimerForRunTimeStats (void)
{

}

unsigned long getRunTimeCounterValue (void)
{
  return ulHighFrequencyTimerTicks;
}
/* USER CODE END 1 */

/************************ (C) COPYRIGHT STMicroelectronics *****END OF FILE****/
